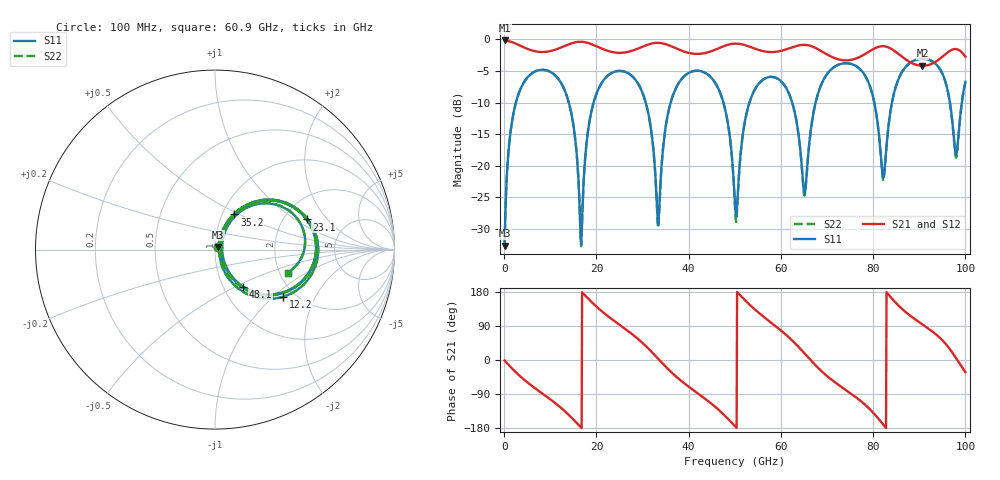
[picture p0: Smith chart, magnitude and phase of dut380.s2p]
! Touchstone file exported from HFSS 2026.1.0
!  File:  C:/ffzhzh/LocalFiles/Ansys_Project_Files/temp_train_TSV_RDL_380_1783715302_44652.aedt
!  Generated:  04:37:16 AM Jul 11, 2026
!  Design:  TSV_RDL
!  Project:  temp_train_TSV_RDL_380_1783715302_44652
! Variables:
!  h_bsmrdl = 2.47um
!  h_ox = 20um
!  h_rdl = 5um
!  h_sub = 61.75um
!  h_tmrdl = 4.5um
!  h_tsv = 61.75um
!  h_via = 3um
!  l_bsmrdl = 269.92um
!  l_sub = 3698.21um
!  l_tmrdl = 595.42um
!  m_sub = 200um
!  pitch = 55.5um
!  r_tsv = 12.65um
!  s_tmrdl = 10um
!  w_bsmrdl = 13.04um
!  w_sub = 500um
!  w_tmrdl = 22.55um
!  x_tsv_center1 = 606.695um
!  x_tsv_center2 = 889.655um
!  x_tsv_center3 = 1507.625um
!  x_tsv_center4 = 1790.585um
!  x_tsv_center5 = 2408.555um
!  x_tsv_center6 = 2691.515um
# GHz S MA R 50.000000
! Terminal data exported
! Port[1] = TM_RDL1_1_T1
! Port[2] = TM_RDL5_1_T1
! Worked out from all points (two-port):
!   1000 points, 100 MHz to 100 GHz, reference 50 ohm
!   highest |S21| = -0.16 dB at 100 MHz (marker M1); lowest = -4.2 dB at 90.7 GHz (marker M2)
!   |S21| within 3 dB of the highest: start of sweep to 72.53 GHz; 75.67 GHz to 87.05 GHz (11.39 GHz wide, 14 % of centre) (the widest 2 of 3)
!   lowest |S11| = -32.6 dB at 100 MHz (marker M3), VSWR 1.05, Z = 51.9 + j1.48 ohm
!   |S11| at or under -10 dB: 14.02 GHz to 19.39 GHz (5.367 GHz wide, 32.1 % of centre); 30.69 GHz to 36.1 GHz (5.408 GHz wide, 16.2 % of centre); 47.53 GHz to 53.18 GHz (5.644 GHz wide, 11.2 % of centre) (the widest 3 of 7)
!   |S22| runs from -32.7 to -3.1 dB; largest |S21 - S12| = 2.6e-13
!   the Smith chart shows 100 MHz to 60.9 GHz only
!   S11 on the Smith chart (normalised r, x): 100 MHz: 1.04, +0.03; 12.2 GHz: 1.73, -1.16; 23.1 GHz: 2.65, +1.25; 35.2 GHz: 1.14, +0.47; 48.1 GHz: 1.24, -0.55; 60.9 GHz: 2.22, -0.70
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0.1  0.02333 37.5  0.9817 -1.4  0.9817 -1.4  0.02333 37.5
! Gamma 0 0 0 0
! Port Impedance 50 0 50 0
3.4  0.3936 44.4  0.8953 -42.2  0.8953 -42.2  0.3936 44.4
12.2  0.4616 -34.6  0.8597 -124.9  0.8597 -124.9  0.4617 -34.7
16.8  0.02826 31.7  0.958 -179.9  0.958 -179.9  0.02758 32.3
18.9  0.2678 57.9  0.9184 153.7  0.9184 153.7  0.2676 58.0
23.1  0.537 18.2  0.7999 110.1  0.7999 110.1  0.5369 18.2
30.1  0.3691 -43.1  0.8789 43.9  0.8789 43.9  0.3691 -43.4
33.4  0.03424 4.3  0.9397 3.2  0.9397 3.2  0.0322 4.2
35.2  0.2238 61.2  0.9132 -19.7  0.9132 -19.7  0.2234 61.7
41.8  0.5652 2.9  0.7682 -86.5  0.7682 -86.5  0.5651 2.8
48.1  0.2603 -52.7  0.8973 -150.0  0.8973 -150.0  0.2599 -53.4
50.1  0.04632 -26.2  0.9266 -175.3  0.9266 -175.3  0.04296 -29.1
53.9  0.3721 43.7  0.8577 138.3  0.8577 138.3  0.3717 44.3
60.9  0.4266 -17.6  0.8293 68.8  0.8293 68.8  0.4265 -17.5
65.1  0.05986 12.9  0.9061 17.7  0.9061 17.7  0.05801 12.8
66.7  0.2188 70.0  0.8821 -3.6  0.8821 -3.6  0.2181 70.6
77.3  0.5752 -15.4  0.7334 -108.2  0.7334 -108.2  0.5749 -15.4
82.1  0.08198 -2.6  0.8846 -169.0  0.8846 -169.0  0.07902 -3.0
83.4  0.2175 59.6  0.8626 171.6  0.8626 171.6  0.2163 60.5
90.7  0.7036 3.4  0.6183 94.0  0.6183 94.0  0.7032 3.5
98  0.122 2.7  0.8393 4.4  0.8393 4.4  0.116 2.8
100  0.4621 41.9  0.7309 -32.0  0.7309 -32.0  0.4603 42.8
